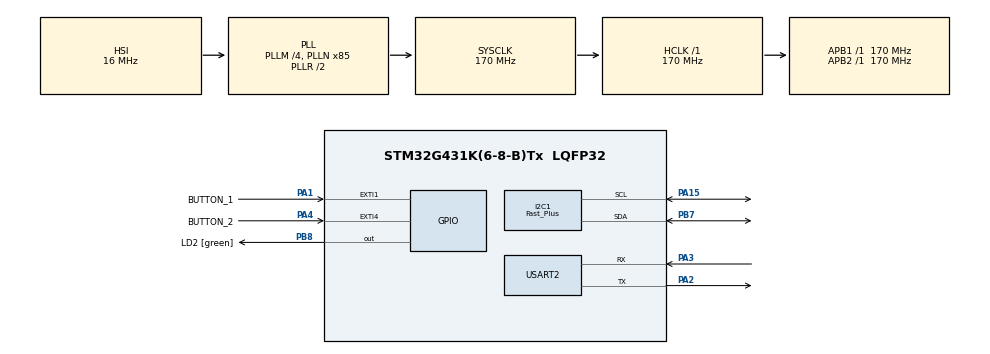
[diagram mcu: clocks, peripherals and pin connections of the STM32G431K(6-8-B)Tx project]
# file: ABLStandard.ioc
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Dma.I2C1_TX.0.Direction=DMA_MEMORY_TO_PERIPH
Dma.I2C1_TX.0.EventEnable=DISABLE
Dma.I2C1_TX.0.Instance=DMA1_Channel1
Dma.I2C1_TX.0.MemDataAlignment=DMA_MDATAALIGN_BYTE
Dma.I2C1_TX.0.MemInc=DMA_MINC_ENABLE
Dma.I2C1_TX.0.Mode=DMA_NORMAL
Dma.I2C1_TX.0.PeriphDataAlignment=DMA_PDATAALIGN_BYTE
Dma.I2C1_TX.0.PeriphInc=DMA_PINC_DISABLE
Dma.I2C1_TX.0.Polarity=HAL_DMAMUX_REQ_GEN_RISING
Dma.I2C1_TX.0.Priority=DMA_PRIORITY_VERY_HIGH
Dma.I2C1_TX.0.RequestNumber=1
Dma.I2C1_TX.0.SignalID=NONE
Dma.I2C1_TX.0.SyncEnable=DISABLE
Dma.I2C1_TX.0.SyncPolarity=HAL_DMAMUX_SYNC_NO_EVENT
Dma.I2C1_TX.0.SyncRequestNumber=1
Dma.I2C1_TX.0.SyncSignalID=NONE
Dma.Request0=I2C1_TX
I2C1.CustomTiming=Disabled
I2C1.I2C_Speed_Mode=I2C_Fast_Plus
I2C1.Timing=0x4052060F
Mcu.Family=STM32G4
Mcu.Name=STM32G431K(6-8-B)Tx
Mcu.Package=LQFP32
NUCLEO-G431KB.VCP=false
NVIC.DMA1_Channel1_IRQn=true\:0\:0\:false\:false\:true\:false\:true\:true
NVIC.EXTI1_IRQn=true\:0\:0\:false\:false\:true\:true\:true\:true
NVIC.EXTI4_IRQn=true\:0\:0\:false\:false\:true\:true\:true\:true
NVIC.I2C1_ER_IRQn=true\:0\:0\:false\:false\:true\:true\:true\:true
NVIC.I2C1_EV_IRQn=true\:0\:0\:false\:false\:true\:true\:true\:true
NVIC.PriorityGroup=NVIC_PRIORITYGROUP_4
PA1.GPIO_Label=BUTTON_1
PA1.GPIO_ModeDefaultEXTI=GPIO_MODE_IT_RISING
PA1.GPIO_PuPd=GPIO_PULLUP
PA1.Signal=GPXTI1
PA13.GPIO_Label=T_SWDIO
PA13.Signal=SYS_JTMS-SWDIO
PA14.GPIO_Label=T_SWCLK
PA14.Signal=SYS_JTCK-SWCLK
PA15.GPIO_Pu=GPIO_PULLUP
PA15.GPIO_Speed=GPIO_SPEED_FREQ_VERY_HIGH
PA15.Mode=I2C
PA15.Signal=I2C1_SCL
PA2.Mode=Asynchronous
PA2.Signal=USART2_TX
PA3.Mode=Asynchronous
PA3.Signal=USART2_RX
PA4.GPIO_Label=BUTTON_2
PA4.GPIO_ModeDefaultEXTI=GPIO_MODE_IT_RISING
PA4.GPIO_PuPd=GPIO_PULLUP
PA4.Signal=GPXTI4
PB3.GPIO_Label=T_SWO
PB3.Signal=SYS_JTDO-SWO
PB7.GPIO_FM7=SYSCFG_FASTMODEPLUS_PB7
PB7.GPIO_Pu=GPIO_PULLUP
PB7.GPIO_Speed=GPIO_SPEED_FREQ_VERY_HIGH
PB7.Mode=I2C
PB7.Signal=I2C1_SDA
PB8-BOOT0.GPIO_Label=LD2 [green]
PB8-BOOT0.Signal=GPIO_Output
ProjectManager.HeapSize=0x200
ProjectManager.StackSize=0x400
ProjectManager.TargetToolchain=CMake
RCC.ADC12Freq_Value=170000000
RCC.AHBFreq_Value=170000000
RCC.APB1Freq_Value=170000000
RCC.APB1TimFreq_Value=170000000
RCC.APB2Freq_Value=170000000
RCC.APB2TimFreq_Value=170000000
RCC.CortexFreq_Value=170000000
RCC.EXTERNAL_CLOCK_VALUE=12288000
RCC.HCLKFreq_Value=170000000
RCC.HSE_VALUE=8000000
RCC.HSI48_VALUE=48000000
RCC.HSI_VALUE=16000000
RCC.LSE_VALUE=32768
RCC.PLLM=RCC_PLLM_DIV4
RCC.PLLN=85
RCC.SYSCLKFreq_VALUE=170000000
RCC.SYSCLKSource=RCC_SYSCLKSOURCE_PLLCLK
RCC.USBFreq_Value=170000000
RCC.VCOOutputFreq_Value=340000000
USART2.VirtualMode-Asynchronous=VM_ASYNC
VP_NUCLEO-G431KB_VS_BSP_COMMON.Mode=COMMON
VP_SYS_VS_DBSignals.Mode=DisableDeadBatterySignals
board=NUCLEO-G431KB

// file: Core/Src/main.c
/* USER CODE BEGIN Header */
/**
 ******************************************************************************
 * @file           : main.c
 * @brief          : Main program body
 ******************************************************************************
 * @attention
 *
 * Copyright (c) 2026 STMicroelectronics.
 * All rights reserved.
 *
 * This software is licensed under terms that can be found in the LICENSE file
 * in the root directory of this software component.
 * If no LICENSE file comes with this software, it is provided AS-IS.
 *
 ******************************************************************************
 */
/* USER CODE END Header */
#include "main.h"

/* USER CODE BEGIN Includes */
#include "ui.h"
#include "interrupt_handler.h"
#include "data_manager.h"
/* USER CODE END Includes */

I2C_HandleTypeDef hi2c1;
DMA_HandleTypeDef hdma_i2c1_tx;

UART_HandleTypeDef huart2;

void SystemClock_Config(void);
static void MX_GPIO_Init(void);
static void MX_DMA_Init(void);
static void MX_I2C1_Init(void);
static void MX_USART2_UART_Init(void);

int main(void)
{

    /* MCU Configuration--------------------------------------------------------*/

    /* Reset of all peripherals, Initializes the Flash interface and the Systick. */
    HAL_Init();

    /* Configure the system clock */
    SystemClock_Config();

    /* Initialize all configured peripherals */
    MX_GPIO_Init();
    MX_DMA_Init();
    MX_I2C1_Init();
    MX_USART2_UART_Init();
    /* USER CODE BEGIN 2 */
    if (interrupt_handler_init())
    {
        LOG_ERROR("Failed to initialize interrupt handler");
        return -1;
    }
    if (data_manager_init())
    {
        LOG_ERROR("Failed to initialize data manager");
        return -1;
    }
    if (ui_init())
    {
        LOG_ERROR("Failed to initialize UI");
        return -1;
    }
    /* USER CODE END 2 */

    /* Infinite loop */
    while (1)
    {

        /* USER CODE BEGIN 3 */
        interrupt_handler_task();
        data_manager_task();
        ui_task();
    }
    /* USER CODE END 3 */
}

void SystemClock_Config(void)
{
    RCC_OscInitTypeDef RCC_OscInitStruct = {0};
    RCC_ClkInitTypeDef RCC_ClkInitStruct = {0};

    /** Configure the main internal regulator output voltage
     */
    HAL_PWREx_ControlVoltageScaling(PWR_REGULATOR_VOLTAGE_SCALE1_BOOST);

    /** Initializes the RCC Oscillators according to the specified parameters
     * in the RCC_OscInitTypeDef structure.
     */
    RCC_OscInitStruct.OscillatorType = RCC_OSCILLATORTYPE_HSI;
    RCC_OscInitStruct.HSIState = RCC_HSI_ON;
    RCC_OscInitStruct.HSICalibrationValue = RCC_HSICALIBRATION_DEFAULT;
    RCC_OscInitStruct.PLL.PLLState = RCC_PLL_ON;
    RCC_OscInitStruct.PLL.PLLSource = RCC_PLLSOURCE_HSI;
    RCC_OscInitStruct.PLL.PLLM = RCC_PLLM_DIV4;
    RCC_OscInitStruct.PLL.PLLN = 85;
    RCC_OscInitStruct.PLL.PLLP = RCC_PLLP_DIV2;
    RCC_OscInitStruct.PLL.PLLQ = RCC_PLLQ_DIV2;
    RCC_OscInitStruct.PLL.PLLR = RCC_PLLR_DIV2;
    if (HAL_RCC_OscConfig(&RCC_OscInitStruct) != HAL_OK)
    {
        Error_Handler();
    }

    /** Initializes the CPU, AHB and APB buses clocks
     */
    RCC_ClkInitStruct.ClockType = RCC_CLOCKTYPE_HCLK | RCC_CLOCKTYPE_SYSCLK | RCC_CLOCKTYPE_PCLK1 | RCC_CLOCKTYPE_PCLK2;
    RCC_ClkInitStruct.SYSCLKSource = RCC_SYSCLKSOURCE_PLLCLK;
    RCC_ClkInitStruct.AHBCLKDivider = RCC_SYSCLK_DIV1;
    RCC_ClkInitStruct.APB1CLKDivider = RCC_HCLK_DIV1;
    RCC_ClkInitStruct.APB2CLKDivider = RCC_HCLK_DIV1;

    if (HAL_RCC_ClockConfig(&RCC_ClkInitStruct, FLASH_LATENCY_4) != HAL_OK)
    {
        Error_Handler();
    }
}

static void MX_I2C1_Init(void)
{

    hi2c1.Instance = I2C1;
    hi2c1.Init.Timing = 0x4052060F;
    hi2c1.Init.OwnAddress1 = 0;
    hi2c1.Init.AddressingMode = I2C_ADDRESSINGMODE_7BIT;
    hi2c1.Init.DualAddressMode = I2C_DUALADDRESS_DISABLE;
    hi2c1.Init.OwnAddress2 = 0;
    hi2c1.Init.OwnAddress2Masks = I2C_OA2_NOMASK;
    hi2c1.Init.GeneralCallMode = I2C_GENERALCALL_DISABLE;
    hi2c1.Init.NoStretchMode = I2C_NOSTRETCH_DISABLE;
    if (HAL_I2C_Init(&hi2c1) != HAL_OK)
    {
        Error_Handler();
    }

    /** Configure Analogue filter
     */
    if (HAL_I2CEx_ConfigAnalogFilter(&hi2c1, I2C_ANALOGFILTER_ENABLE) != HAL_OK)
    {
        Error_Handler();
    }

    /** Configure Digital filter
     */
    if (HAL_I2CEx_ConfigDigitalFilter(&hi2c1, 0) != HAL_OK)
    {
        Error_Handler();
    }

    /** I2C Fast mode Plus enable
     */
    HAL_I2CEx_EnableFastModePlus(I2C_FASTMODEPLUS_I2C1);
}

static void MX_USART2_UART_Init(void)
{

    huart2.Instance = USART2;
    huart2.Init.BaudRate = 115200;
    huart2.Init.WordLength = UART_WORDLENGTH_8B;
    huart2.Init.StopBits = UART_STOPBITS_1;
    huart2.Init.Parity = UART_PARITY_NONE;
    huart2.Init.Mode = UART_MODE_TX_RX;
    huart2.Init.HwFlowCtl = UART_HWCONTROL_NONE;
    huart2.Init.OverSampling = UART_OVERSAMPLING_16;
    huart2.Init.OneBitSampling = UART_ONE_BIT_SAMPLE_DISABLE;
    huart2.Init.ClockPrescaler = UART_PRESCALER_DIV1;
    huart2.AdvancedInit.AdvFeatureInit = UART_ADVFEATURE_NO_INIT;
    if (HAL_UART_Init(&huart2) != HAL_OK)
    {
        Error_Handler();
    }
    if (HAL_UARTEx_SetTxFifoThreshold(&huart2, UART_TXFIFO_THRESHOLD_1_8) != HAL_OK)
    {
        Error_Handler();
    }
    if (HAL_UARTEx_SetRxFifoThreshold(&huart2, UART_RXFIFO_THRESHOLD_1_8) != HAL_OK)
    {
        Error_Handler();
    }
    if (HAL_UARTEx_DisableFifoMode(&huart2) != HAL_OK)
    {
        Error_Handler();
    }
}

static void MX_DMA_Init(void)
{

    /* DMA controller clock enable */
    __HAL_RCC_DMAMUX1_CLK_ENABLE();
    __HAL_RCC_DMA1_CLK_ENABLE();

    /* DMA interrupt init */
    /* DMA1_Channel1_IRQn interrupt configuration */
    HAL_NVIC_SetPriority(DMA1_Channel1_IRQn, 0, 0);
    HAL_NVIC_EnableIRQ(DMA1_Channel1_IRQn);
}

static void MX_GPIO_Init(void)
{
    GPIO_InitTypeDef GPIO_InitStruct = {0};

    /* GPIO Ports Clock Enable */
    __HAL_RCC_GPIOA_CLK_ENABLE();
    __HAL_RCC_GPIOB_CLK_ENABLE();

    /*Configure GPIO pin Output Level */
    HAL_GPIO_WritePin(LD2_GPIO_Port, LD2_Pin, GPIO_PIN_RESET);

    /*Configure GPIO pins : BUTTON_1_Pin BUTTON_2_Pin */
    GPIO_InitStruct.Pin = BUTTON_1_Pin | BUTTON_2_Pin;
    GPIO_InitStruct.Mode = GPIO_MODE_IT_RISING;
    GPIO_InitStruct.Pull = GPIO_PULLUP;
    HAL_GPIO_Init(GPIOA, &GPIO_InitStruct);

    /*Configure GPIO pin : LD2_Pin */
    GPIO_InitStruct.Pin = LD2_Pin;
    GPIO_InitStruct.Mode = GPIO_MODE_OUTPUT_PP;
    GPIO_InitStruct.Pull = GPIO_NOPULL;
    GPIO_InitStruct.Speed = GPIO_SPEED_FREQ_LOW;
    HAL_GPIO_Init(LD2_GPIO_Port, &GPIO_InitStruct);

    /* EXTI interrupt init*/
    HAL_NVIC_SetPriority(EXTI1_IRQn, 0, 0);
    HAL_NVIC_EnableIRQ(EXTI1_IRQn);

    HAL_NVIC_SetPriority(EXTI4_IRQn, 0, 0);
    HAL_NVIC_EnableIRQ(EXTI4_IRQn);

}

/* USER CODE BEGIN Header */
/**
 ******************************************************************************
 * @file           : main.c
 * @brief          : Main program body
 ******************************************************************************
 * @attention
 *
 * Copyright (c) 2026 STMicroelectronics.
 * All rights reserved.
 *
 * This software is licensed under terms that can be found in the LICENSE file
 * in the root directory of this software component.
 * If no LICENSE file comes with this software, it is provided AS-IS.
 *
 ******************************************************************************
 */
/* USER CODE END Header */

void Error_Handler(void)
{
    __disable_irq();
    while (1)
    {
    }
}
